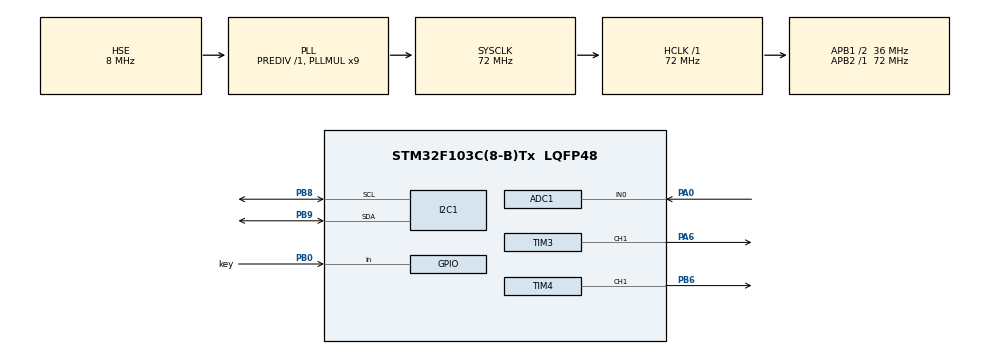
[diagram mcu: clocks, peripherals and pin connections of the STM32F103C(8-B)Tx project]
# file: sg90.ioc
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ADC1.Channel-8\#ChannelRegularConversion=ADC_CHANNEL_0
ADC1.ContinuousConvMode=ENABLE
ADC1.NbrOfConversionFlag=1
ADC1.Rank-8\#ChannelRegularConversion=1
ADC1.SamplingTime-8\#ChannelRegularConversion=ADC_SAMPLETIME_1CYCLE_5
ADC1.master=1
I2C1.I2C_Mode=I2C_Fast
Mcu.Family=STM32F1
Mcu.Name=STM32F103C(8-B)Tx
Mcu.Package=LQFP48
NVIC.PriorityGroup=NVIC_PRIORITYGROUP_4
NVIC.TIM3_IRQn=true\:0\:0\:false\:false\:true\:true\:true\:true
PA0-WKUP.Signal=ADCx_IN0
PA13.Mode=Serial_Wire
PA13.Signal=SYS_JTMS-SWDIO
PA14.Mode=Serial_Wire
PA14.Signal=SYS_JTCK-SWCLK
PA6.Signal=S_TIM3_CH1
PB0.GPIO_Label=key
PB0.GPIO_PuPd=GPIO_PULLUP
PB0.Signal=GPIO_Input
PB6.Signal=S_TIM4_CH1
PB8.Mode=I2C
PB8.Signal=I2C1_SCL
PB9.Mode=I2C
PB9.Signal=I2C1_SDA
PD0-OSC_IN.Mode=HSE-External-Oscillator
PD0-OSC_IN.Signal=RCC_OSC_IN
PD1-OSC_OUT.Mode=HSE-External-Oscillator
PD1-OSC_OUT.Signal=RCC_OSC_OUT
ProjectManager.HeapSize=0x200
ProjectManager.StackSize=0x400
ProjectManager.TargetToolchain=CMake
RCC.ADCPresc=RCC_ADCPCLK2_DIV6
RCC.AHBFreq_Value=72000000
RCC.APB1CLKDivider=RCC_HCLK_DIV2
RCC.APB1Freq_Value=36000000
RCC.APB1TimFreq_Value=72000000
RCC.APB2Freq_Value=72000000
RCC.APB2TimFreq_Value=72000000
RCC.HCLKFreq_Value=72000000
RCC.PLLMUL=RCC_PLL_MUL9
RCC.PLLSourceVirtual=RCC_PLLSOURCE_HSE
RCC.SYSCLKFreq_VALUE=72000000
RCC.SYSCLKSource=RCC_SYSCLKSOURCE_PLLCLK
RCC.USBFreq_Value=72000000
SH.ADCx_IN0.0=ADC1_IN0,IN0
SH.S_TIM3_CH1.0=TIM3_CH1,PWM Generation1 CH1
SH.S_TIM4_CH1.0=TIM4_CH1,PWM Generation1 CH1
TIM3.Channel-PWM\ Generation1\ CH1=TIM_CHANNEL_1
TIM3.Period=1000-1
TIM3.Prescaler=720-1
TIM3.Pulse-PWM\ Generation1\ CH1=50
TIM4.Channel-PWM\ Generation1\ CH1=TIM_CHANNEL_1
TIM4.Period=2000-1
TIM4.Prescaler=720-1
TIM4.Pulse-PWM\ Generation1\ CH1=150
VP_TIM3_VS_ClockSourceINT.Mode=Internal
VP_TIM4_VS_ClockSourceINT.Mode=Internal
board=custom

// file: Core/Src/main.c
/* USER CODE BEGIN Header */
/**
  ******************************************************************************
  * @file           : main.c
  * @brief          : Main program body
  ******************************************************************************
  * @attention
  *
  * Copyright (c) 2026 STMicroelectronics.
  * All rights reserved.
  *
  * This software is licensed under terms that can be found in the LICENSE file
  * in the root directory of this software component.
  * If no LICENSE file comes with this software, it is provided AS-IS.
  *
  ******************************************************************************
  */
/* USER CODE END Header */
#include "main.h"
#include "adc.h"
#include "i2c.h"
#include "stm32f1xx_hal_gpio.h"
#include "tim.h"
#include "gpio.h"

/* USER CODE BEGIN Includes */
#include <math.h>
#include <stdint.h>
#include <stdio.h>
#include "oled.h"
/* USER CODE END Includes */

void SystemClock_Config(void);

/* USER CODE BEGIN 0 */
volatile uint8_t led_status = 3;
uint8_t key_status = 0;
uint8_t hold_count = 0;
uint8_t shake_count = 0;
void HAL_TIM_PeriodElapsedCallback(TIM_HandleTypeDef *htim)
{
  if (htim == &htim3) {
    uint8_t lvl = HAL_GPIO_ReadPin(key_GPIO_Port, key_Pin);
    switch (key_status) {
      case 0: // 按下
        if (lvl == GPIO_PIN_RESET) {
          key_status  = 1;
          shake_count = hold_count = 0;
        }
        break;

      case 1: // 按下消抖
        if (lvl == GPIO_PIN_RESET) {
          if (++shake_count >= 2) key_status = 2;
        } else {
          key_status = 0;
        }
        break;

      case 2: // 按住
        if (lvl == GPIO_PIN_SET) {
          key_status  = 3;
          shake_count = 0;
        } else if (hold_count <= 101) {
          hold_count++;
        }
        break;

      case 3: // 松开消抖
        if (lvl == GPIO_PIN_SET) {
          if (++shake_count >= 2) {
            if (hold_count >= 101) led_status = (led_status == 5) ? 0 : 5;
            else if (led_status != 5) led_status = (led_status + 1) % 5;
            key_status = 0;
          }
        } else {
          key_status  = 2;
          shake_count = 0;
        }
        break;
    }
  }
}
/* USER CODE END 0 */

int main(void)
{

  /* MCU Configuration--------------------------------------------------------*/

  /* Reset of all peripherals, Initializes the Flash interface and the Systick. */
  HAL_Init();

  /* Configure the system clock */
  SystemClock_Config();

  /* Initialize all configured peripherals */
  MX_GPIO_Init();
  MX_TIM3_Init();
  MX_ADC1_Init();
  MX_TIM4_Init();
  MX_I2C1_Init();
  /* USER CODE BEGIN 2 */
  HAL_Delay(50);
  OLED_Init();

  HAL_TIM_PWM_Start(&htim3, TIM_CHANNEL_1);
  HAL_TIM_PWM_Start(&htim4, TIM_CHANNEL_1);
  HAL_TIM_Base_Start_IT(&htim3);

  HAL_ADCEx_Calibration_Start(&hadc1);
  HAL_ADC_Start(&hadc1);
  HAL_ADC_PollForConversion(&hadc1, HAL_MAX_DELAY);

  int value = 0;
  float sevro_duty = 0;
  float Voltage = 0;
  int int_part = 0;
  int dec_part = 0;
  int light_duty = 0;
  uint32_t breath_time = 0;
  uint32_t screem_time = 0;
  uint8_t led_direction = 1;
  char message1[20] = "";
  char message2[20] = "";
  /* USER CODE END 2 */

  /* Infinite loop */
  /* USER CODE BEGIN WHILE */
  while (1)
  {
    //获取ADC读数和计算
    value = HAL_ADC_GetValue(&hadc1);
    sevro_duty = (((value / 4095.0)*10 + 2.5) / 100.0) * 2000;
    Voltage = 3.3 * (value / 4095.0);
    int_part = (int)Voltage;
    dec_part = (int)((Voltage - int_part) * 10);
    //操控舵机
    __HAL_TIM_SET_COMPARE(&htim4, TIM_CHANNEL_1, sevro_duty);

    //呼吸灯部分
    if ( led_status == 0 ){
      __HAL_TIM_SET_COMPARE(&htim3, TIM_CHANNEL_1, 0);
    }else if (led_status == 1) {
      __HAL_TIM_SET_COMPARE(&htim3, TIM_CHANNEL_1, 250);
    }else if (led_status == 2) {
      __HAL_TIM_SET_COMPARE(&htim3, TIM_CHANNEL_1, 500);
    }else if (led_status == 3) {
      __HAL_TIM_SET_COMPARE(&htim3, TIM_CHANNEL_1, 750);
    }else if (led_status == 4) {
      __HAL_TIM_SET_COMPARE(&htim3, TIM_CHANNEL_1, 999);
    }else if (led_status == 5) {
      if ( HAL_GetTick() - breath_time >= 1)
        {
          breath_time = HAL_GetTick();
          if (led_direction == 1){
            if (light_duty >= 999){
              led_direction = !led_direction;
            }else {
              light_duty ++;
            }
          }else {
            if (light_duty <= 0){
              led_direction = !led_direction;
            }else {
              light_duty --;
            }
          }
          __HAL_TIM_SET_COMPARE(&htim3, TIM_CHANNEL_1, light_duty);
        }
    }

    //OLED操控
    if ( HAL_GetTick() - screem_time >= 60)
    {
      screem_time = HAL_GetTick();
      sprintf(message1, "value: %d", value);
      sprintf(message2, "U: %d.%01dV", int_part, dec_part);

      OLED_NewFrame();
      OLED_PrintString(10, 0, message1, &font16x16, OLED_COLOR_NORMAL);
      OLED_PrintString(10, 17, message2, &font16x16, OLED_COLOR_NORMAL);
      OLED_DrawRectangle(10, 33, 101, 12, OLED_COLOR_NORMAL);
      OLED_DrawFilledRectangle(10, 34, (int)(value / 4095.0 * 100), 12, OLED_COLOR_NORMAL);
      OLED_ShowFrame();
    }
    /* USER CODE END WHILE */

  }
}

void SystemClock_Config(void)
{
  RCC_OscInitTypeDef RCC_OscInitStruct = {0};
  RCC_ClkInitTypeDef RCC_ClkInitStruct = {0};
  RCC_PeriphCLKInitTypeDef PeriphClkInit = {0};

  /** Initializes the RCC Oscillators according to the specified parameters
  * in the RCC_OscInitTypeDef structure.
  */
  RCC_OscInitStruct.OscillatorType = RCC_OSCILLATORTYPE_HSE;
  RCC_OscInitStruct.HSEState = RCC_HSE_ON;
  RCC_OscInitStruct.HSEPredivValue = RCC_HSE_PREDIV_DIV1;
  RCC_OscInitStruct.HSIState = RCC_HSI_ON;
  RCC_OscInitStruct.PLL.PLLState = RCC_PLL_ON;
  RCC_OscInitStruct.PLL.PLLSource = RCC_PLLSOURCE_HSE;
  RCC_OscInitStruct.PLL.PLLMUL = RCC_PLL_MUL9;
  if (HAL_RCC_OscConfig(&RCC_OscInitStruct) != HAL_OK)
  {
    Error_Handler();
  }

  /** Initializes the CPU, AHB and APB buses clocks
  */
  RCC_ClkInitStruct.ClockType = RCC_CLOCKTYPE_HCLK|RCC_CLOCKTYPE_SYSCLK
                              |RCC_CLOCKTYPE_PCLK1|RCC_CLOCKTYPE_PCLK2;
  RCC_ClkInitStruct.SYSCLKSource = RCC_SYSCLKSOURCE_PLLCLK;
  RCC_ClkInitStruct.AHBCLKDivider = RCC_SYSCLK_DIV1;
  RCC_ClkInitStruct.APB1CLKDivider = RCC_HCLK_DIV2;
  RCC_ClkInitStruct.APB2CLKDivider = RCC_HCLK_DIV1;

  if (HAL_RCC_ClockConfig(&RCC_ClkInitStruct, FLASH_LATENCY_2) != HAL_OK)
  {
    Error_Handler();
  }
  PeriphClkInit.PeriphClockSelection = RCC_PERIPHCLK_ADC;
  PeriphClkInit.AdcClockSelection = RCC_ADCPCLK2_DIV6;
  if (HAL_RCCEx_PeriphCLKConfig(&PeriphClkInit) != HAL_OK)
  {
    Error_Handler();
  }
}

void Error_Handler(void)
{
  __disable_irq();
  while (1)
  {
  }
}
